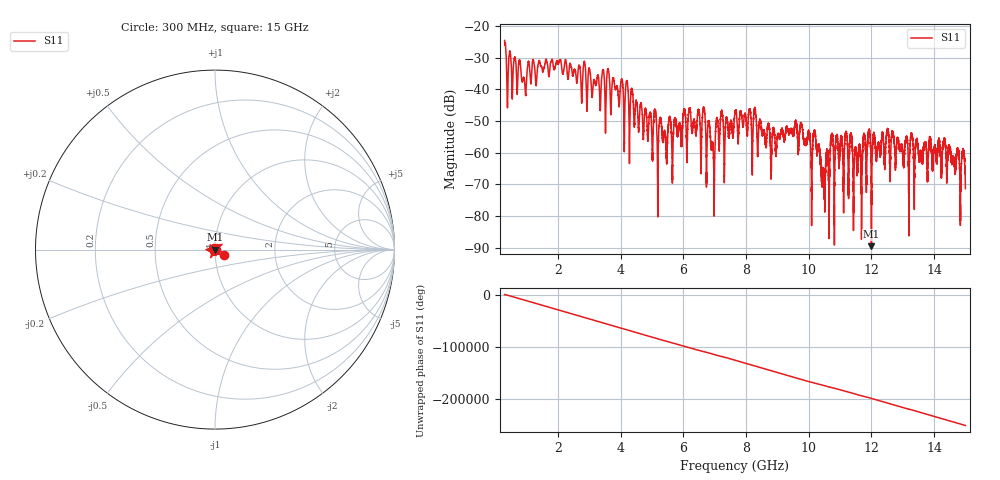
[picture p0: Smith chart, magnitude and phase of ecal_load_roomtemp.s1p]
# GHZ S RI R 50.0
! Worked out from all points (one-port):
!   12801 points, 300 MHz to 15 GHz, reference 50 ohm
!   lowest |S11| = -89.5 dB at 12 GHz (marker M1), VSWR 1.00, Z = 50 - j0.00156 ohm
!   |S11| at or under -10 dB: start of sweep to end of sweep
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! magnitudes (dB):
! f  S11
! 300 MHz  -24.6
! 381.5 MHz  -41.0
! 922.5 MHz  -36.6
! 1.419 GHz  -31.3
! 2.138 GHz  -34.3
! 3.975 GHz  -42.2
! 5.419 GHz  -53.8
! 5.812 GHz  -54.1
! 6.654 GHz  -45.7
! 6.945 GHz  -57.4
! 7.215 GHz  -47.0
! 7.359 GHz  -49.9
! 7.65 GHz  -47.0
! 8.289 GHz  -46.0
! 8.828 GHz  -56.8
! 9.488 GHz  -53.9
! 10.08 GHz  -62.7
! 10.21 GHz  -54.0
! 10.47 GHz  -66.9
! 10.74 GHz  -54.2
! 11.32 GHz  -55.5
! 11.49 GHz  -58.7
! 12 GHz  -89.5
! 12.51 GHz  -52.8
! 13.16 GHz  -57.4
! 14.32 GHz  -55.3
! 14.93 GHz  -59.7
! 15 GHz  -71.4
